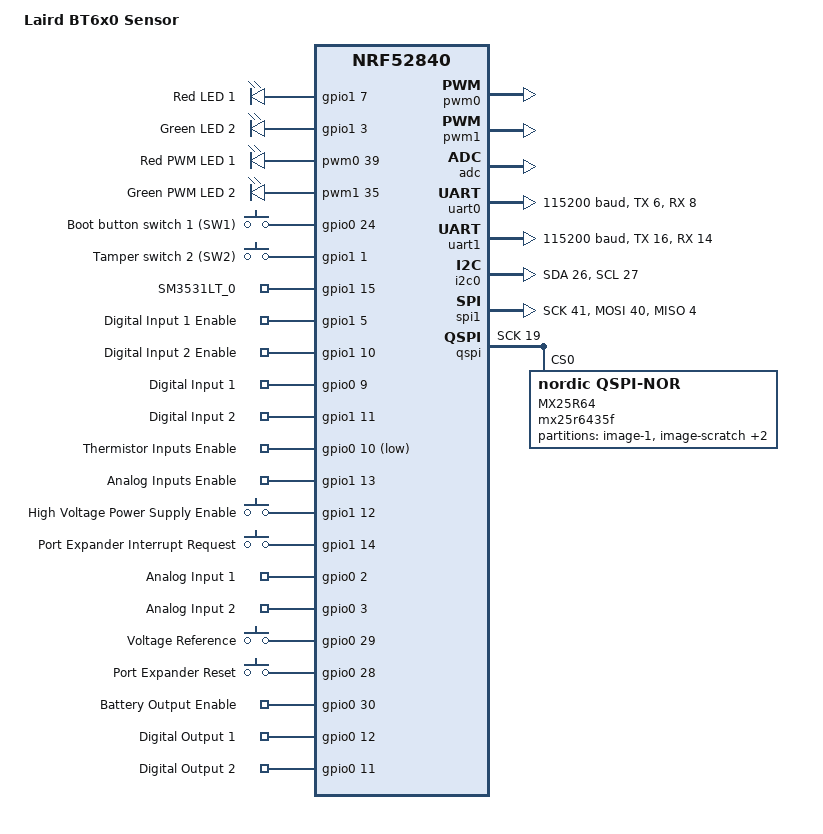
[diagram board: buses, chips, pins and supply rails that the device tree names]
/*
 * Copyright (c) 2021 Laird Connectivity
 *
 * SPDX-License-Identifier: Apache-2.0
 */

/dts-v1/;
#include <nordic/nrf52840_qiaa.dtsi>

/ {
	model = "Laird BT6x0 Sensor";
	compatible = "lairdconnect,bt6x0";

	chosen {
		zephyr,console = &uart0;
		zephyr,shell-uart = &uart0;
		zephyr,uart-mcumgr = &uart0;
		zephyr,bt-mon-uart = &uart0;
		zephyr,bt-c2h-uart = &uart0;
		zephyr,sram = &sram0;
		zephyr,flash = &flash0;
		zephyr,code-partition = &slot0_partition;
	};

	leds {
		compatible = "gpio-leds";
		led1: led_1 {
			gpios = <&gpio1 7 GPIO_ACTIVE_HIGH>;
			label = "Red LED 1";
		};
		led2: led_2 {
			gpios = <&gpio1 3 GPIO_ACTIVE_HIGH>;
			label = "Green LED 2";
		};
	};

	pwmleds {
		compatible = "pwm-leds";

		led1pwm: led_1_pwm {
			pwms = <&pwm0 39>;
			label = "Red PWM LED 1";
		};

		led2pwm: led_2_pwm {
			pwms = <&pwm1 35>;
			label = "Green PWM LED 2";
		};
	};

	buttons {
		compatible = "gpio-keys";
		button1: button_1 {
			gpios = <&gpio0 24 GPIO_PULL_UP>;
			label = "Boot button switch 1 (SW1)";
		};
		button2: button_2 {
			gpios = <&gpio1 1 GPIO_PULL_UP>;
			label = "Tamper switch 2 (SW2)";
		};
		mag1: mag_1 {
			compatible = "honeywell,sm351lt";
			gpios = <&gpio1 15 0>;
			label = "SM3531LT_0";
		};
	};

	gpio_keys {
		compatible = "gpio-keys";
		dinenable1: din_enable_1 {
			label = "Digital Input 1 Enable";
			gpios = <&gpio1 5 GPIO_ACTIVE_HIGH>;
		};

		dinenable2: din_enable_2 {
			label = "Digital Input 2 Enable";
			gpios = <&gpio1 10 GPIO_ACTIVE_HIGH>;
		};

		din1: din_1 {
			label = "Digital Input 1";
			gpios = <&gpio0 9 GPIO_PULL_UP>;
		};

		din2: din_2 {
			label = "Digital Input 2";
			gpios = <&gpio1 11 GPIO_PULL_UP>;
		};

		thermenable: therm_enable {
			label = "Thermistor Inputs Enable";
			gpios = <&gpio0 10 GPIO_ACTIVE_LOW>;
		};

		analogenable: analog_enable {
			label = "Analog Inputs Enable";
			gpios = <&gpio1 13 GPIO_ACTIVE_HIGH>;
		};

		highsupplyenable: high_supply_enable {
			label = "High Voltage Power Supply Enable";
			gpios = <&gpio1 12 GPIO_ACTIVE_HIGH>;
		};

		expanderirq: expander_irq {
			label = "Port Expander Interrupt Request";
			gpios = <&gpio1 14 GPIO_PULL_UP>;
		};

		ain1: ain_1 {
			label = "Analog Input 1";
			gpios = <&gpio0 2 GPIO_PULL_UP>;
		};

		ain2: ain_2 {
			label = "Analog Input 2";
			gpios = <&gpio0 3 GPIO_PULL_UP>;
		};

		vref: v_ref {
			label = "Voltage Reference";
			gpios = <&gpio0 29 GPIO_PULL_UP>;
		};

		expanderreset: expander_reset {
			label = "Port Expander Reset";
			gpios = <&gpio0 28 GPIO_ACTIVE_HIGH>;
		};

		batteryoutputenable: battery_output_enable {
			label = "Battery Output Enable";
			gpios = <&gpio0 30 GPIO_ACTIVE_HIGH>;
		};

		do1mcu: do_1_mcu {
			label = "Digital Output 1";
			gpios = <&gpio0 12 GPIO_ACTIVE_HIGH>;
		};

		do2mcu: do_2_mcu {
			label = "Digital Output 2";
			gpios = <&gpio0 11 GPIO_ACTIVE_HIGH>;
		};
	};

	/* These aliases are provided for compatibility with samples */
	aliases {
		led0 = &led1;
		led1 = &led2;
		led0pwm = &led1pwm;
		led1pwm = &led2pwm;
		sw0 = &button1;
		sw1 = &button2;
		sw2 = &mag1;
	};
};

&pwm0 {
	status = "okay";
	ch0-pin = <39>;
};

&pwm1 {
	status = "okay";
	ch0-pin = <35>;
};

&adc {
	status = "okay";
};

&gpiote {
	status = "okay";
};

&gpio0 {
	status = "okay";
};

&gpio1 {
	status = "okay";
};

&uart0 {
	compatible = "nordic,nrf-uarte";
	current-speed = <115200>;
	status = "okay";
	tx-pin = <6>;
	rx-pin = <8>;
	rts-pin = <5>;
	cts-pin = <7>;
};

&uart1 {
	compatible = "nordic,nrf-uarte";
	current-speed = <115200>;
	status = "okay";
	tx-pin = <16>;
	rx-pin = <14>;
	rts-pin = <13>;
	cts-pin = <15>;
};

&i2c0 {
	compatible = "nordic,nrf-twi";
	status = "okay";
	sda-pin = <26>;
	scl-pin = <27>;
};

&spi1 {
	compatible = "nordic,nrf-spi";
	status = "okay";
	sck-pin = <41>;
	mosi-pin = <40>;
	miso-pin = <4>;
	cs-gpios = <&gpio0 25 0>,
		<&gpio0 31 0>;
};

&qspi {
	status = "okay";
	sck-pin = <19>;
	io-pins = <20>, <21>, <22>, <23>;
	csn-pins = <17>;
	mx25r64: mx25r6435f@0 {
		compatible = "nordic,qspi-nor";
		reg = <0>;
		writeoc = "pp4io";
		readoc = "read4io";
		sck-frequency = <8000000>;
		label = "MX25R64";
		jedec-id = [c2 28 17];
		sfdp-bfp = [
			e5 20 f1 ff  ff ff ff 03  44 eb 08 6b  08 3b 04 bb
			ee ff ff ff  ff ff 00 ff  ff ff 00 ff  0c 20 0f 52
			10 d8 00 ff  23 72 f5 00  82 ed 04 cc  44 83 68 44
			30 b0 30 b0  f7 c4 d5 5c  00 be 29 ff  f0 d0 ff ff
		];
		size = <67108864>;
		has-dpd;
		t-enter-dpd = <10000>;
		t-exit-dpd = <35000>;
	};
};

&flash0 {
	/*
	 * For more information, see:
	 * http://docs.zephyrproject.org/latest/guides/dts/index.html#flash-partitions
	 */
	partitions {
		compatible = "fixed-partitions";
		#address-cells = <1>;
		#size-cells = <1>;

		/* 96K */
		boot_partition: partition@0 {
			label = "mcuboot";
			reg = <0x000000000 0x00018000>;
		};
		/* 896K */
		slot0_partition: partition@18000 {
			label = "image-0";
			reg = <0x00018000 0x000E0000>;
		};

		/*
		 * The flash starting at 0x000f8000 and ending at
		 * 0x000fffff is reserved for use by the application.
		 */

		/*
		 * Storage partition will be used by FCB/NVS
		 * if enabled. 32K
		 */
		storage_partition: partition@f8000 {
			label = "storage";
			reg = <0x000f8000 0x00008000>;
		};
	};
};

&mx25r64 {
	partitions {
		compatible = "fixed-partitions";
		#address-cells = <1>;
		#size-cells = <1>;

		/* 896K */
		slot1_partition: partition@0 {
			label = "image-1";
			reg = <0x0000000 0x000E0000>;
		};
		/* 16K */
		scratch_partition: partition@E0000 {
			label = "image-scratch";
			reg = <0x000E0000 0x00004000>;
		};
		/* 112K */
		customer_partition: partition@E4000 {
			label = "customer-storage";
			reg = <0x000E4000 0x0001C000>;
		};
		/* 7MB */
		lfs_partition: partition@100000 {
			label = "lfs_storage";
			reg = <0x00100000 0x000700000>;
		};
	};
};
